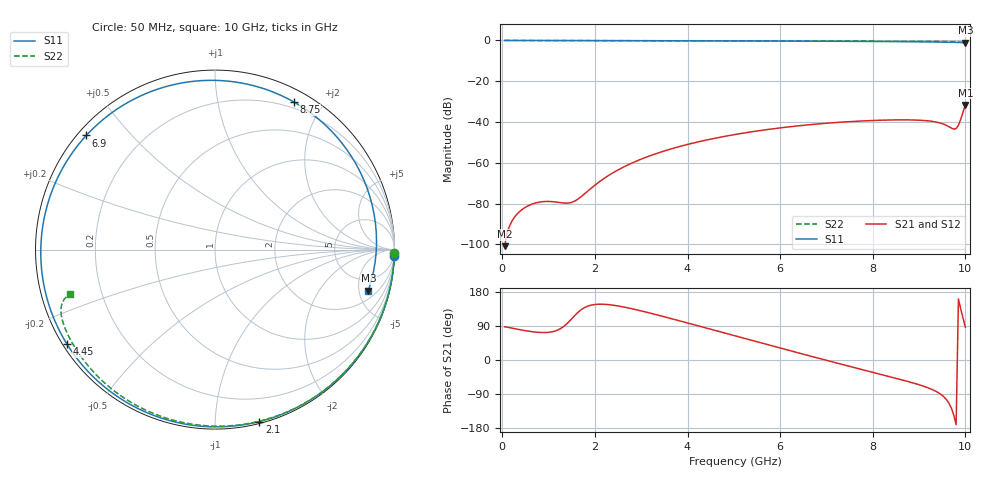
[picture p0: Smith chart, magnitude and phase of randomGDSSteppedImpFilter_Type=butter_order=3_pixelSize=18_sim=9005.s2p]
! freq	dB(S11)	phase(S11)	dB(S12)	phase(S12)
!  dB(S21)	phase(S21)	dB(S22)	phase(S22)
!S-par simulation data
#  GHz  S  DB  R 50
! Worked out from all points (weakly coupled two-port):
!   200 points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, 50 MHz to 10 GHz, reference 50 ohm
!   highest |S21| = -31.67 dB at 10 GHz (marker M1); lowest = -100.9 dB at 50 MHz (marker M2)
!   lowest |S11| = -1.1 dB at 10 GHz (marker M3), VSWR 16.34, Z = 148 - j312 ohm
!   |S11| at or under -10 dB: nowhere
!   |S22| runs from -1.4 to 0.0 dB; largest |S21 - S12| = 0
!   S11 on the Smith chart (normalised r, x): 50 MHz: 1, -60; 2.1 GHz: 0.01, -1.29; 4.45 GHz: 0.01, -0.29; 6.9 GHz: 0.02, +0.38; 8.75 GHz: 0.13, +1.66; 10 GHz: 2.97, -6.24
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0.05  -0.01 -1.9  -100.88 87.6  -100.88 87.6  -0.00 -0.9
0.7  -0.03 -26.2  -79.82 73.8  -79.82 73.8  -0.01 -12.7
0.95  -0.04 -35.4  -78.95 72.6  -78.95 72.6  -0.02 -17.3
1.45  -0.07 -53.3  -79.68 102.4  -79.68 102.4  -0.03 -26.2
1.75  -0.08 -63.7  -75.72 136.4  -75.72 136.4  -0.04 -31.5
2.1  -0.09 -75.6  -69.23 147.3  -69.23 147.3  -0.05 -37.6
2.7  -0.11 -95.0  -61.17 137.9  -61.17 137.9  -0.06 -48.0
3.4  -0.14 -116.6  -54.90 117.2  -54.90 117.2  -0.08 -59.7
4.45  -0.19 -147.4  -48.62 82.8  -48.62 82.8  -0.11 -76.7
5.05  -0.22 -164.6  -46.02 62.8  -46.02 62.8  -0.13 -86.1
5.9  -0.28 170.4  -43.16 34.8  -43.16 34.8  -0.17 -98.9
6.7  -0.35 145.2  -41.18 8.7  -41.18 8.7  -0.22 -110.7
6.9  -0.37 138.4  -40.78 2.3  -40.78 2.3  -0.23 -113.6
7.7  -0.45 109.2  -39.55 -23.1  -39.55 -23.1  -0.29 -125.0
8.35  -0.54 81.4  -39.01 -43.4  -39.01 -43.4  -0.35 -134.3
8.75  -0.61 62.0  -38.95 -56.4  -38.95 -56.4  -0.39 -140.1
9.05  -0.67 45.9  -39.17 -67.3  -39.17 -67.3  -0.42 -144.6
9.35  -0.75 28.3  -39.93 -81.8  -39.93 -81.8  -0.47 -149.2
9.75  -0.91 2.4  -43.47 -146.1  -43.47 -146.1  -0.61 -156.5
9.8  -0.93 -1.1  -43.21 -170.6  -43.21 -170.6  -0.66 -157.7
9.85  -0.97 -4.6  -41.57 161.1  -41.57 161.1  -0.73 -159.0
10  -1.06 -15.0  -31.67 86.3  -31.67 86.3  -1.44 -162.9
